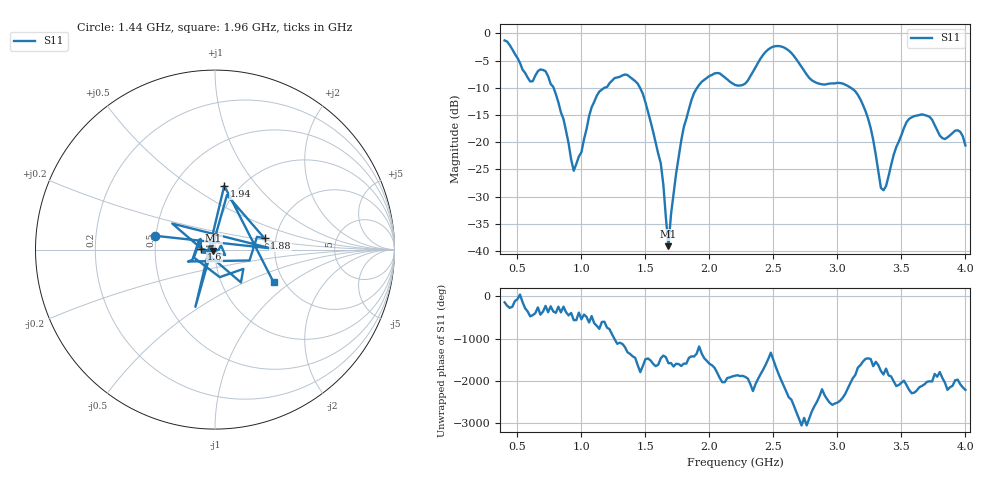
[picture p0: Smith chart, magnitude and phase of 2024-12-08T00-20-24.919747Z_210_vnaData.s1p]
!Created with skrf (http://scikit-rf.org).
# Hz S RI R 50.0
!freq ReS11 ImS11
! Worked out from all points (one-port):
!   181 points, 400 MHz to 4 GHz, reference 50 ohm
!   lowest |S11| = -39.1 dB at 1.68 GHz (marker M1), VSWR 1.02, Z = 49.1 - j0.587 ohm
!   |S11| at or under -10 dB: 782.9 MHz to 1.178 GHz (395.3 MHz wide, 40.3 % of centre); 1.458 GHz to 1.904 GHz (445.7 MHz wide, 26.5 % of centre); 3.105 GHz to end of sweep
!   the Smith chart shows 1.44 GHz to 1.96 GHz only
!   S11 on the Smith chart (normalised r, x): 1.44 GHz: 0.49, +0.09; 1.6 GHz: 0.85, +0.01; 1.88 GHz: 1.74, +0.24; 1.94 GHz: 0.85, +0.69; 1.96 GHz: 1.77, -0.75
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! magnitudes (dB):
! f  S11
! 400 MHz  -1.3
! 600 MHz  -8.8
! 720 MHz  -7.0
! 860 MHz  -15.7
! 940 MHz  -25.2
! 1.12 GHz  -11.5
! 1.3 GHz  -8.0
! 1.44 GHz  -9.2
! 1.6 GHz  -22.1
! 1.64 GHz  -27.8
! 1.68 GHz  -39.1
! 1.76 GHz  -22.7
! 1.88 GHz  -11.0
! 1.94 GHz  -8.9
! 1.96 GHz  -8.5
! 2.2 GHz  -9.5
! 2.48 GHz  -2.6
! 2.66 GHz  -4.1
! 2.82 GHz  -8.9
! 3.1 GHz  -9.9
! 3.24 GHz  -15.7
! 3.34 GHz  -28.4
! 3.36 GHz  -28.8
! 3.56 GHz  -15.7
! 3.72 GHz  -15.3
! 3.82 GHz  -19.2
! 3.94 GHz  -17.8
! 4 GHz  -20.6
